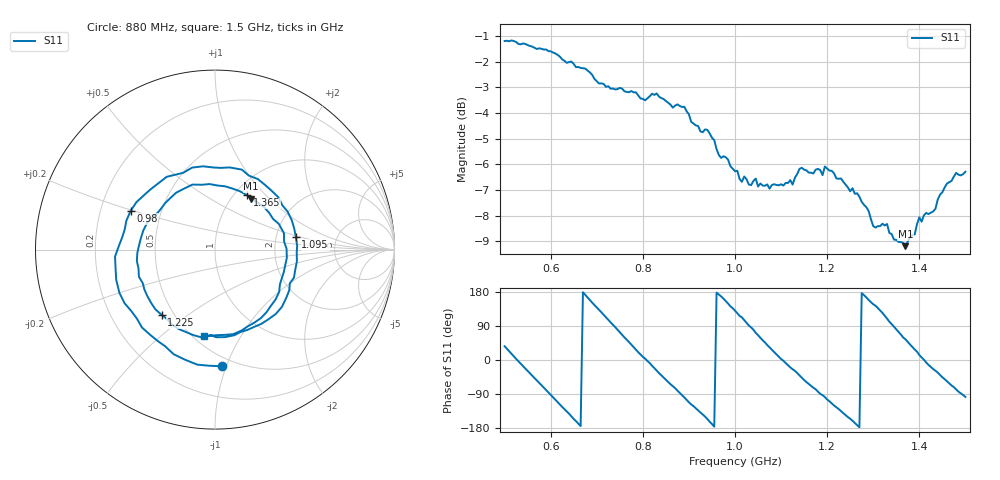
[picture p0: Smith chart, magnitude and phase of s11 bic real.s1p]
#  HZ  S  RI  R  50.00
! Rohde & Schwarz Vector Network Analyzer
! Rohde-Schwarz,ZNC3-2Port,1311600412101323,1.94
! Created: UTC 10/28/2024, 10:04:11 PM
! freq[Hz]  re:S11  im:S11
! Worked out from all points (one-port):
!   201 points, 500 MHz to 1.5 GHz, reference 50 ohm
!   lowest |S11| = -9.2 dB at 1.37 GHz (marker M1), VSWR 2.06, Z = 61.2 + j39.4 ohm
!   |S11| at or under -10 dB: nowhere
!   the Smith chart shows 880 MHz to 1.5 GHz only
!   S11 on the Smith chart (normalised r, x): 880 MHz: 0.43, -0.96; 980 MHz: 0.33, +0.20; 1.095 GHz: 2.58, +0.46; 1.225 GHz: 0.43, -0.40; 1.365 GHz: 1.14, +0.79; 1.5 GHz: 0.56, -0.71
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5e8  0.7017 0.5153
5.4e8  0.8282 -0.237
5.75e8  0.4197 -0.7308
6e8  -0.0271 -0.8312
6.25e8  -0.4475 -0.6655
6.5e8  -0.716 -0.3231
6.8e8  -0.7376 0.1948
7.15e8  -0.3495 0.6276
7.5e8  0.1981 0.6776
7.85e8  0.6159 0.3153
8.15e8  0.673 -0.0971
8.75e8  0.1059 -0.6469
8.8e8  0.0373 -0.65
9.4e8  -0.5326 -0.2409
9.8e8  -0.47 0.2156
1e9  -0.3134 0.3711
1.045e9  0.1494 0.4457
1.095e9  0.4506 0.0703
1.125e9  0.417 -0.1883
1.18e9  0.0558 -0.4876
1.225e9  -0.298 -0.3629
1.25e9  -0.4027 -0.1869
1.33e9  -0.126 0.3621
1.365e9  0.1793 0.3031
1.37e9  0.201 0.283
1.375e9  0.2388 0.2618
1.44e9  0.3578 -0.2346
1.5e9  -0.0632 -0.4804
